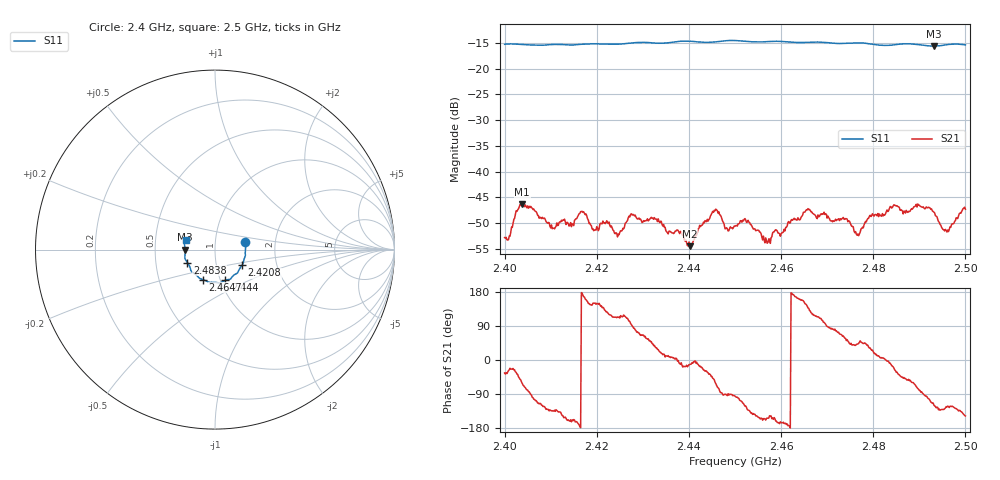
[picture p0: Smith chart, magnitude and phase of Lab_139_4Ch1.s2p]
# Hz S RI R 50
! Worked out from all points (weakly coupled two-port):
!   601 points, 2.4 GHz to 2.5 GHz, reference 50 ohm
!   highest |S21| = -46.29 dB at 2.4038 GHz (marker M1); lowest = -54.5 dB at 2.4402 GHz (marker M2)
!   lowest |S11| = -15.6 dB at 2.4932 GHz (marker M3), VSWR 1.40, Z = 35.8 - j0.0865 ohm
!   |S11| at or under -10 dB: start of sweep to end of sweep
!   S12 and S22 are empty: the file has one direction only
!   S11 on the Smith chart (normalised r, x): 2.4 GHz: 1.40, +0.12; 2.4208 GHz: 1.33, -0.24; 2.444 GHz: 1.06, -0.37; 2.4647 GHz: 0.83, -0.29; 2.4838 GHz: 0.73, -0.11; 2.5 GHz: 0.72, +0.08
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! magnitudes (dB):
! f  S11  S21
! 2.4 GHz  -15.2  -52.9
! 2.4038 GHz  -15.3  -46.3
! 2.4105 GHz  -15.3  -51.0
! 2.4167 GHz  -15.2  -47.8
! 2.4208 GHz  -15.2  -50.1
! 2.4243 GHz  -15.2  -52.0
! 2.4275 GHz  -15.0  -48.2
! 2.4333 GHz  -15.0  -49.2
! 2.4402 GHz  -14.6  -54.5
! 2.444 GHz  -14.9  -49.3
! 2.446 GHz  -14.8  -47.4
! 2.45 GHz  -14.5  -50.6
! 2.4525 GHz  -14.7  -49.9
! 2.4573 GHz  -14.7  -53.1
! 2.4647 GHz  -14.9  -48.5
! 2.4667 GHz  -14.8  -47.9
! 2.4765 GHz  -15.0  -52.4
! 2.4833 GHz  -15.5  -47.6
! 2.4838 GHz  -15.4  -46.8
! 2.4932 GHz  -15.6  -47.9
! 2.496 GHz  -15.3  -51.8
! 2.5 GHz  -15.3  -47.3
